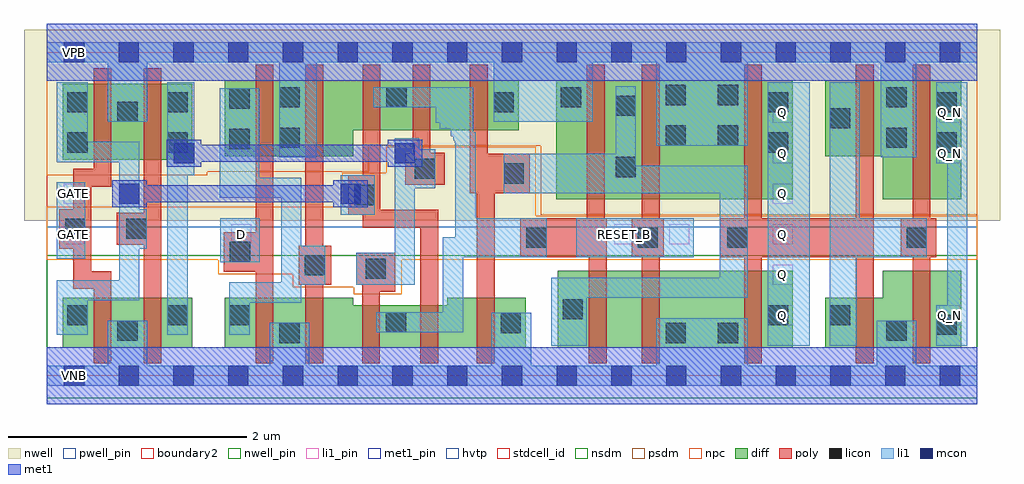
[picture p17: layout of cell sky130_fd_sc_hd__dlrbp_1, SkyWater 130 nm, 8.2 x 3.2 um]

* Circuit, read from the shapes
.subckt sky130_fd_sc_hd__dlrbp_1 D GATE Q Q_N RESET_B VGND VNB VPB VPWR
XM1 VGND GATE n1 VNB sky130_fd_pr__nfet_01v8 w=0.42 l=0.15
XM2 n2 n1 VGND VNB sky130_fd_pr__nfet_01v8 w=0.42 l=0.15
XM3 VGND D n3 VNB sky130_fd_pr__nfet_01v8 w=0.42 l=0.15
XM4 n4 n3 VGND VNB sky130_fd_pr__nfet_01v8 w=0.42 l=0.15
XM5 n5 n2 n4 VNB sky130_fd_pr__nfet_01v8 w=0.36 l=0.15
XM6 n6 n1 n5 VNB sky130_fd_pr__nfet_01v8 w=0.36 l=0.15
XM7 VGND n7 n6 VNB sky130_fd_pr__nfet_01v8 w=0.42 l=0.15
XM8 n8 n5 n7 VNB sky130_fd_pr__nfet_01v8 w=0.65 l=0.15
XM9 VGND RESET_B n8 VNB sky130_fd_pr__nfet_01v8 w=0.65 l=0.15
XM10 Q n7 VGND VNB sky130_fd_pr__nfet_01v8 w=0.65 l=0.15
XM11 VGND n7 n9 VNB sky130_fd_pr__nfet_01v8 w=0.42 l=0.15
XM12 Q_N n9 VGND VNB sky130_fd_pr__nfet_01v8 w=0.65 l=0.15
XM13 VPWR GATE n1 VPB sky130_fd_pr__pfet_01v8_hvt w=0.64 l=0.15
XM14 n2 n1 VPWR VPB sky130_fd_pr__pfet_01v8_hvt w=0.64 l=0.15
XM15 VPWR D n3 VPB sky130_fd_pr__pfet_01v8_hvt w=0.64 l=0.15
XM16 n10 n3 VPWR VPB sky130_fd_pr__pfet_01v8_hvt w=0.64 l=0.15
XM17 n5 n1 n10 VPB sky130_fd_pr__pfet_01v8_hvt w=0.42 l=0.15
XM18 n11 n2 n5 VPB sky130_fd_pr__pfet_01v8_hvt w=0.42 l=0.15
XM19 VPWR n7 n11 VPB sky130_fd_pr__pfet_01v8_hvt w=0.42 l=0.15
XM20 n7 n5 VPWR VPB sky130_fd_pr__pfet_01v8_hvt w=1 l=0.15
XM21 VPWR RESET_B n7 VPB sky130_fd_pr__pfet_01v8_hvt w=1 l=0.15
XM22 Q n7 VPWR VPB sky130_fd_pr__pfet_01v8_hvt w=1 l=0.15
XM23 VPWR n7 n9 VPB sky130_fd_pr__pfet_01v8_hvt w=0.64 l=0.15
XM24 Q_N n9 VPWR VPB sky130_fd_pr__pfet_01v8_hvt w=1 l=0.15
.ends

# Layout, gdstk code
import gdstk
lib = gdstk.Library(unit=1e-6, precision=1e-09)
def R(c, l, rs):  # rectangles x0, y0, x1, y1
    for r in rs: c.add(gdstk.rectangle(r[:2], r[2:], *l))
def A(c, l, x, y, w, h, nx, ny, dx, dy):  # array of equal rectangles
    R(c, l, [(x+i*dx, y+j*dy, x+i*dx+w, y+j*dy+h) for i in range(nx) for j in range(ny)])
def P(c, l, *ps):  # polygons
    for p in ps: c.add(gdstk.Polygon(p, *l))
nwell_pin = (64, 16)
nwell = (64, 20)
diff = (65, 20)
poly = (66, 20)
licon = (66, 44)
li1_pin = (67, 16)
li1 = (67, 20)
mcon = (67, 44)
met1_pin = (68, 16)
met1 = (68, 20)
hvtp = (78, 44)
stdcell_id = (81, 4)
nsdm = (93, 44)
psdm = (94, 20)
npc = (95, 20)
pwell_pin = (122, 16)
boundary2 = (236, 0)

sky130_fd_sc_hd__dlrbp_1 = lib.new_cell('sky130_fd_sc_hd__dlrbp_1')
R(sky130_fd_sc_hd__dlrbp_1, nwell_pin, [(0.15,2.635,0.32,2.805), (0.15,2.635,0.32,2.805)])
R(sky130_fd_sc_hd__dlrbp_1, nwell, [(-0.19,1.305,8.01,2.91)])
R(sky130_fd_sc_hd__dlrbp_1, diff, [(0.135,0.235,1.225,0.655), (4.295,0.235,6.27,0.885), (4.28,1.485,6.27,2.485), (0.135,1.815,1.225,2.455)])
P(sky130_fd_sc_hd__dlrbp_1, diff, [(6.54,0.235),(6.54,0.655),(7.025,0.655),(7.025,0.885),(7.685,0.885),(7.685,0.235)],
  [(7.025,1.485),(7.025,1.845),(6.54,1.845),(6.54,2.485),(7.685,2.485),(7.685,1.485)],
  [(1.495,0.235),(1.495,0.655),(2.575,0.655),(2.575,0.595),(3.365,0.595),(3.365,0.655),(4.025,0.655),(4.025,0.235)],
  [(1.495,1.845),(1.495,2.485),(3.965,2.485),(3.965,2.065),(2.575,2.065),(2.575,1.845)])
R(sky130_fd_sc_hd__dlrbp_1, poly, [(4.555,0.105,4.705,1.325)])
P(sky130_fd_sc_hd__dlrbp_1, poly, [(7.275,0.105),(7.275,0.995),(7.175,0.995),(7.175,1.325),(7.275,1.325),(7.275,2.615),(7.425,2.615),(7.425,1.325),(7.475,1.325),(7.475,0.995),(7.425,0.995),(7.425,0.105)],
  [(5.86,0.105),(5.86,0.995),(5.655,0.995),(5.655,1.325),(5.86,1.325),(5.86,2.615),(6.01,2.615),(6.01,1.325),(6.8,1.325),(6.8,2.615),(6.95,2.615),(6.95,0.105),(6.8,0.105),(6.8,0.995),(6.01,0.995),(6.01,0.105)],
  [(5,0.105),(5,0.995),(4.915,0.995),(4.915,1.325),(5,1.325),(5,2.615),(5.15,2.615),(5.15,1.325),(5.185,1.325),(5.185,0.995),(5.15,0.995),(5.15,0.105)],
  [(3.615,0.105),(3.615,1.535),(3.555,1.535),(3.555,2.615),(3.705,2.615),(3.705,1.865),(4.06,1.865),(4.06,1.535),(3.765,1.535),(3.765,0.105)],
  [(3.015,1.605),(3.015,1.875),(3.075,1.875),(3.075,2.615),(3.225,2.615),(3.225,1.875),(3.345,1.875),(3.345,1.605)],
  [(3.14,0.105),(3.14,1.245),(2.655,1.245),(2.655,1.355),(2.535,1.355),(2.535,1.685),(2.655,1.685),(2.655,2.615),(2.805,2.615),(2.805,1.395),(3.29,1.395),(3.29,0.105)],
  [(2.65,0.105),(2.65,0.765),(2.6,0.765),(2.6,1.035),(2.93,1.035),(2.93,0.705),(2.8,0.705),(2.8,0.105)],
  [(2.175,0.105),(2.175,0.765),(2.12,0.765),(2.12,1.095),(2.175,1.095),(2.175,2.615),(2.325,2.615),(2.325,1.095),(2.39,1.095),(2.39,0.765),(2.325,0.765),(2.325,0.105)],
  [(1.755,0.105),(1.755,0.875),(1.49,0.875),(1.49,1.205),(1.755,1.205),(1.755,2.615),(1.905,2.615),(1.905,0.105)],
  [(0.815,0.105),(0.815,1.1),(0.59,1.1),(0.59,1.37),(0.815,1.37),(0.815,2.585),(0.965,2.585),(0.965,0.105)],
  [(0.395,0.105),(0.395,0.73),(0.225,0.73),(0.225,1.07),(0.105,1.07),(0.105,1.4),(0.225,1.4),(0.225,1.74),(0.395,1.74),(0.395,2.585),(0.545,2.585),(0.545,1.59),(0.375,1.59),(0.375,0.88),(0.545,0.88),(0.545,0.105)],
  [(3.98,0.995),(3.98,1.325),(4.54,1.325),(4.54,2.615),(4.69,2.615),(4.69,0.995)])
R(sky130_fd_sc_hd__dlrbp_1, licon, [(1.955,0.275,2.125,0.445), (5.2,0.275,5.37,0.445), (5.64,0.275,5.81,0.445), (0.595,0.295,0.765,0.465), (7.055,0.295,7.225,0.465), (7.475,0.345,7.645,0.515), (3.815,0.36,3.985,0.53), (2.85,0.365,3.02,0.535), (0.175,0.425,0.345,0.595), (1.015,0.425,1.185,0.595), (1.535,0.425,1.705,0.595), (6.06,0.425,6.23,0.595), (6.58,0.425,6.75,0.595), (4.335,0.475,4.505,0.645), (2.68,0.815,2.85,0.985), (2.17,0.845,2.34,1.015), (1.54,0.955,1.71,1.125), (4.03,1.075,4.2,1.245), (4.965,1.075,5.135,1.245), (5.72,1.075,5.89,1.245), (7.225,1.075,7.395,1.245), (0.155,1.15,0.325,1.32), (0.67,1.15,0.84,1.32), (2.585,1.435,2.755,1.605), (3.84,1.615,4.01,1.785), (3.095,1.655,3.265,1.825), (4.78,1.67,4.95,1.84), (0.175,1.875,0.345,2.045), (1.015,1.875,1.185,2.045), (6.06,1.875,6.23,2.045), (7.475,1.875,7.645,2.045), (1.535,1.905,1.705,2.075), (1.955,1.915,2.125,2.085), (7.055,1.915,7.225,2.085), (5.2,1.935,5.37,2.105), (5.64,1.935,5.81,2.105), (6.58,2.08,6.75,2.25), (0.595,2.135,0.765,2.305), (4.78,2.185,4.95,2.355), (0.175,2.215,0.345,2.385), (1.015,2.215,1.185,2.385), (3.755,2.215,3.925,2.385), (6.06,2.215,6.23,2.385), (7.475,2.215,7.645,2.385), (1.535,2.245,1.705,2.415), (1.955,2.255,2.125,2.425), (2.855,2.255,3.025,2.425), (4.32,2.255,4.49,2.425), (7.055,2.255,7.225,2.425), (5.2,2.275,5.37,2.445), (5.64,2.275,5.81,2.445)])
A(sky130_fd_sc_hd__dlrbp_1, li1_pin, 6.1, 0.425, 0.17, 0.17, 1, 6, 0, 0.34)
R(sky130_fd_sc_hd__dlrbp_1, li1_pin, [(7.5,0.425,7.67,0.595), (0.145,1.105,0.315,1.275), (1.55,1.105,1.72,1.275), (4.77,1.105,4.94,1.275), (5.23,1.105,5.4,1.275), (0.145,1.445,0.315,1.615), (7.5,1.785,7.67,1.955), (7.5,2.125,7.67,2.295)])
R(sky130_fd_sc_hd__dlrbp_1, li1, [(6.06,0.255,6.41,2.465), (1.46,0.955,1.79,1.325), (0.085,0.985,0.325,1.625), (4.45,0.995,5.435,1.325), (2.47,1.355,2.755,1.685)])
P(sky130_fd_sc_hd__dlrbp_1, li1, [(1.955,1.835),(1.955,2.635),(0.845,2.635),(0.845,2.135),(0.515,2.135),(0.515,2.635),(0,2.635),(0,2.805),(7.82,2.805),(7.82,2.635),(7.305,2.635),(7.305,1.835),(7.01,1.835),(7.01,2.635),(5.89,2.635),(5.89,1.935),(5.12,1.935),(5.12,2.635),(4.59,2.635),(4.59,2.135),(3.755,2.135),(3.755,2.635),(2.27,2.635),(2.27,1.835)],
  [(7.475,0.255),(7.475,0.595),(7.565,0.595),(7.565,1.785),(7.475,1.785),(7.475,2.465),(7.735,2.465),(7.735,0.255)],
  [(6.58,0.255),(6.58,2.465),(6.83,2.465),(6.83,1.325),(7.395,1.325),(7.395,0.995),(6.805,0.995),(6.805,0.255)],
  [(4.24,0.255),(4.24,0.825),(5.655,0.825),(5.655,1.535),(3.84,1.535),(3.84,1.865),(4.78,1.865),(4.78,2.435),(4.95,2.435),(4.95,1.765),(5.89,1.765),(5.89,0.655),(4.54,0.655),(4.54,0.255)],
  [(2.77,0.365),(2.77,0.535),(3.33,0.535),(3.33,1.165),(3.435,1.165),(3.435,1.96),(3.43,1.96),(3.43,1.975),(3.42,1.975),(3.42,1.99),(3.415,1.99),(3.415,2.015),(3.395,2.015),(3.395,2.075),(3.305,2.075),(3.305,2.125),(3.27,2.125),(3.27,2.255),(2.745,2.255),(2.745,2.425),(3.585,2.425),(3.585,2.045),(3.605,2.045),(3.605,1.325),(4.2,1.325),(4.2,0.995),(3.5,0.995),(3.5,0.365)],
  [(2.6,0.765),(2.6,1.035),(2.925,1.035),(2.925,1.995),(3.13,1.995),(3.13,1.905),(3.265,1.905),(3.265,1.575),(3.095,1.575),(3.095,0.765)],
  [(0,-0.085),(0,0.085),(0.515,0.085),(0.515,0.465),(0.845,0.465),(0.845,0.085),(1.875,0.085),(1.875,0.445),(2.205,0.445),(2.205,0.085),(3.735,0.085),(3.735,0.53),(4.07,0.53),(4.07,0.085),(5.12,0.085),(5.12,0.485),(5.89,0.485),(5.89,0.085),(6.975,0.085),(6.975,0.465),(7.305,0.465),(7.305,0.085),(7.82,0.085),(7.82,-0.085)],
  [(1.535,0.345),(1.535,0.785),(1.97,0.785),(1.97,1.495),(1.455,1.495),(1.455,2.415),(1.785,2.415),(1.785,1.665),(2.14,1.665),(2.14,1.095),(2.34,1.095),(2.34,0.765),(2.14,0.765),(2.14,0.615),(1.705,0.615),(1.705,0.345)],
  [(1.015,0.345),(1.015,2.465),(1.24,2.465),(1.24,1.685),(1.185,1.685),(1.185,0.345)],
  [(0.085,0.345),(0.085,0.805),(0.61,0.805),(0.61,1.795),(0.085,1.795),(0.085,2.465),(0.345,2.465),(0.345,1.965),(0.78,1.965),(0.78,1.4),(0.84,1.4),(0.84,1.07),(0.78,1.07),(0.78,0.635),(0.345,0.635),(0.345,0.345)])
A(sky130_fd_sc_hd__dlrbp_1, mcon, 0.145, -0.085, 0.17, 0.17, 17, 2, 0.46, 2.72)
R(sky130_fd_sc_hd__dlrbp_1, mcon, [(0.61,1.445,0.78,1.615), (2.47,1.445,2.64,1.615), (1.07,1.785,1.24,1.955), (2.925,1.785,3.095,1.955)])
R(sky130_fd_sc_hd__dlrbp_1, met1_pin, [(0.15,-0.085,0.32,0.085), (0.15,2.635,0.32,2.805)])
P(sky130_fd_sc_hd__dlrbp_1, met1, [(1.01,1.755),(1.01,1.985),(1.3,1.985),(1.3,1.94),(2.865,1.94),(2.865,1.985),(3.155,1.985),(3.155,1.755),(2.865,1.755),(2.865,1.8),(1.3,1.8),(1.3,1.755)],
  [(0.55,1.415),(0.55,1.645),(0.84,1.645),(0.84,1.6),(2.41,1.6),(2.41,1.645),(2.7,1.645),(2.7,1.415),(2.41,1.415),(2.41,1.46),(0.84,1.46),(0.84,1.415)])
R(sky130_fd_sc_hd__dlrbp_1, hvtp, [(0,1.25,7.82,2.72)])
R(sky130_fd_sc_hd__dlrbp_1, stdcell_id, [(0,0,7.82,2.72)])
R(sky130_fd_sc_hd__dlrbp_1, nsdm, [(0,-0.19,7.82,1.015)])
P(sky130_fd_sc_hd__dlrbp_1, psdm, [(4.15,1.355),(4.15,1.935),(2.705,1.935),(2.705,1.715),(1.35,1.715),(1.35,1.685),(0,1.685),(0,2.91),(7.82,2.91),(7.82,1.355)])
P(sky130_fd_sc_hd__dlrbp_1, npc, [(2.58,0.685),(2.58,0.745),(2.07,0.745),(2.07,0.855),(1.44,0.855),(1.44,0.975),(0,0.975),(0,1.42),(2.485,1.42),(2.485,1.705),(2.855,1.705),(2.855,1.925),(4.11,1.925),(4.11,1.345),(7.82,1.345),(7.82,0.975),(2.985,0.975),(2.985,0.685)])
R(sky130_fd_sc_hd__dlrbp_1, pwell_pin, [(0.15,-0.085,0.32,0.085), (0.15,-0.085,0.32,0.085)])
R(sky130_fd_sc_hd__dlrbp_1, boundary2, [(0,0,7.82,2.72)])
sky130_fd_sc_hd__dlrbp_1.add(gdstk.FlexPath([(0,2.72),(7.82,2.72)], 0.48, ends="flush", simple_path=True, layer=68, datatype=20))  # met1
sky130_fd_sc_hd__dlrbp_1.add(gdstk.FlexPath([(0,0),(7.82,0)], 0.48, ends="flush", simple_path=True, layer=68, datatype=20))  # met1
sky130_fd_sc_hd__dlrbp_1.add(gdstk.Label('GATE', (0.23,1.19), layer=67, texttype=5))
sky130_fd_sc_hd__dlrbp_1.add(gdstk.Label('RESET_B', (4.855,1.19), layer=67, texttype=5))
sky130_fd_sc_hd__dlrbp_1.add(gdstk.Label('Q_N', (7.585,0.51), layer=67, texttype=5))
sky130_fd_sc_hd__dlrbp_1.add(gdstk.Label('RESET_B', (5.29,1.19), layer=67, texttype=5))
sky130_fd_sc_hd__dlrbp_1.add(gdstk.Label('Q', (6.185,1.53), layer=67, texttype=5))
sky130_fd_sc_hd__dlrbp_1.add(gdstk.Label('Q', (6.185,1.87), layer=67, texttype=5))
sky130_fd_sc_hd__dlrbp_1.add(gdstk.Label('Q', (6.185,2.21), layer=67, texttype=5))
sky130_fd_sc_hd__dlrbp_1.add(gdstk.Label('Q', (6.185,0.51), layer=67, texttype=5))
sky130_fd_sc_hd__dlrbp_1.add(gdstk.Label('Q_N', (7.585,1.87), layer=67, texttype=5))
sky130_fd_sc_hd__dlrbp_1.add(gdstk.Label('Q', (6.185,1.19), layer=67, texttype=5))
sky130_fd_sc_hd__dlrbp_1.add(gdstk.Label('Q_N', (7.585,2.21), layer=67, texttype=5))
sky130_fd_sc_hd__dlrbp_1.add(gdstk.Label('D', (1.635,1.19), layer=67, texttype=5))
sky130_fd_sc_hd__dlrbp_1.add(gdstk.Label('GATE', (0.23,1.53), layer=67, texttype=5))
sky130_fd_sc_hd__dlrbp_1.add(gdstk.Label('Q', (6.185,0.85), layer=67, texttype=5))
sky130_fd_sc_hd__dlrbp_1.add(gdstk.Label('VNB', (0.235,0), layer=64, texttype=59))
sky130_fd_sc_hd__dlrbp_1.add(gdstk.Label('VNB', (0.235,0), layer=64, texttype=59))
sky130_fd_sc_hd__dlrbp_1.add(gdstk.Label('VPB', (0.235,2.72), layer=64, texttype=5))
sky130_fd_sc_hd__dlrbp_1.add(gdstk.Label('VPB', (0.235,2.72), layer=64, texttype=5))
sky130_fd_sc_hd__dlrbp_1.add(gdstk.Label('VGND', (0.23,0), layer=68, texttype=5))
sky130_fd_sc_hd__dlrbp_1.add(gdstk.Label('VPWR', (0.23,2.72), layer=68, texttype=5))
sky130_fd_sc_hd__dlrbp_1.add(gdstk.Label('dlrbp_1', (0,0), layer=83, texttype=44))

lib.write_gds('sky130_fd_sc_hd__dlrbp_1.gds')
